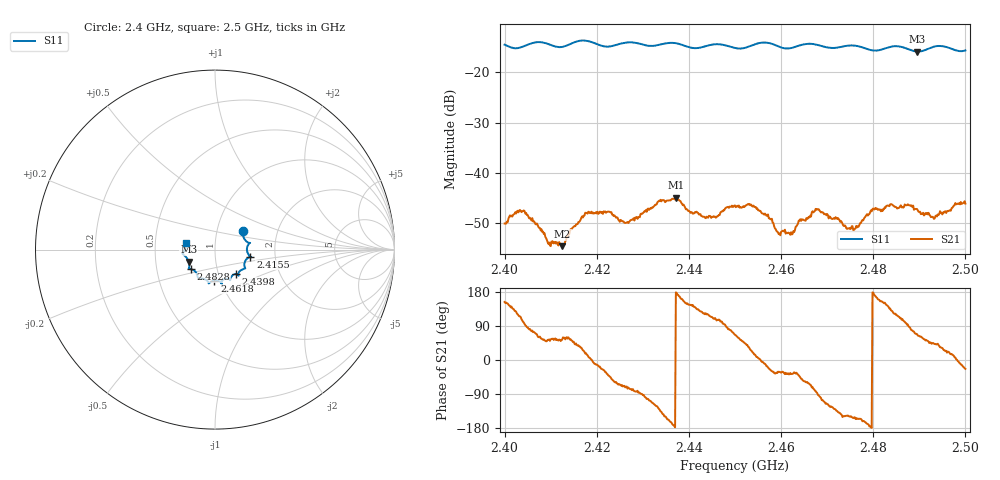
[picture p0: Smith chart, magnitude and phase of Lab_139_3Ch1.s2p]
# Hz S RI R 50
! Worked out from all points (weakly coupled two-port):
!   601 points, 2.4 GHz to 2.5 GHz, reference 50 ohm
!   highest |S21| = -44.91 dB at 2.4372 GHz (marker M1); lowest = -54.5 dB at 2.4125 GHz (marker M2)
!   lowest |S11| = -15.9 dB at 2.4895 GHz (marker M3), VSWR 1.38, Z = 37 - j5.07 ohm
!   |S11| at or under -10 dB: start of sweep to end of sweep
!   S12 and S22 are empty: the file has one direction only
!   S11 on the Smith chart (normalised r, x): 2.4 GHz: 1.33, +0.29; 2.4155 GHz: 1.49, -0.12; 2.4398 GHz: 1.21, -0.34; 2.4618 GHz: 0.94, -0.33; 2.4828 GHz: 0.74, -0.17; 2.5 GHz: 0.72, +0.06
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2.4e9  0.1552 0.106  -0.00281 0.00143  0 0  0 0
2.403833e9  0.1723 0.0484  -0.00103 0.00404  0 0  0 0
2.4095e9  0.1878 0.0313  0.0012 0.00158  0 0  0 0
2.4125e9  0.1784 -0.0071  0.00112 0.00151  0 0  0 0
2.4155e9  0.1973 -0.0392  0.00223 0.00212  0 0  0 0
2.416667e9  0.2023 -0.0425  0.00306 0.00193  0 0  0 0
2.422667e9  0.1649 -0.0722  0.00309 -0.00276  0 0  0 0
2.4265e9  0.1684 -0.1031  0.00109 -0.00304  0 0  0 0
2.433333e9  0.1297 -0.1343  -0.00312 -0.00419  0 0  0 0
2.437167e9  0.1312 -0.1433  -0.00568 0.000151  0 0  0 0
2.439833e9  0.1151 -0.1362  -0.00352 0.00231  0 0  0 0
2.445333e9  0.0836 -0.1694  -0.00122 0.00352  0 0  0 0
2.45e9  0.0651 -0.1618  0.0019 0.00437  0 0  0 0
2.454e9  0.0356 -0.1842  0.00452 0.0015  0 0  0 0
2.461833e9  -0.00322 -0.1728  0.002 -0.00153  0 0  0 0
2.466667e9  -0.035 -0.1882  0.00123 -0.00388  0 0  0 0
2.4755e9  -0.0939 -0.1589  -0.00262 -0.00141  0 0  0 0
2.482833e9  -0.1359 -0.1088  -0.0039 0.00267  0 0  0 0
2.483333e9  -0.1398 -0.1087  -0.00362 0.00305  0 0  0 0
2.4895e9  -0.1459 -0.0668  0.00162 0.0041  0 0  0 0
2.493e9  -0.1765 -0.0272  0.00259 0.00258  0 0  0 0
2.5e9  -0.1602 0.0393  0.00456 -0.00198  0 0  0 0
